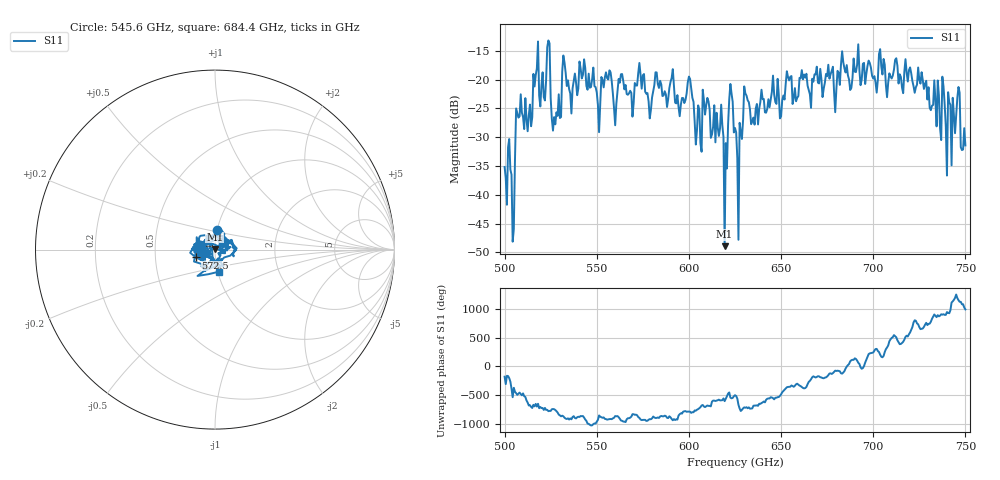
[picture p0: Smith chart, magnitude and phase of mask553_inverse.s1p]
!Created with skrf (http://scikit-rf.org).
# GHz S MA R 50.0
!freq magS11 angS11
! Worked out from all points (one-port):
!   401 points, 500 GHz to 750 GHz, reference 50 ohm
!   lowest |S11| = -48.9 dB at 619.4 GHz (marker M1), VSWR 1.01, Z = 49.8 + j0.313 ohm
!   |S11| at or under -10 dB: start of sweep to end of sweep
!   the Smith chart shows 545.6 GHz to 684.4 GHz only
!   S11 on the Smith chart (normalised r, x): 545.6 GHz: 1.00, +0.23; 572.5 GHz: 0.81, -0.07; 684.4 GHz: 1.01, -0.25
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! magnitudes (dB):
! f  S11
! 500 GHz  -35.2
! 504.4 GHz  -48.2
! 507.5 GHz  -26.6
! 513.8 GHz  -24.3
! 516.9 GHz  -19.2
! 520.6 GHz  -18.7
! 523.8 GHz  -13.2
! 526.9 GHz  -26.5
! 531.2 GHz  -18.6
! 545.6 GHz  -19.0
! 562.5 GHz  -20.5
! 572.5 GHz  -18.9
! 593.8 GHz  -22.7
! 605.6 GHz  -25.2
! 608.8 GHz  -26.1
! 617.5 GHz  -24.3
! 619.4 GHz  -48.9
! 622.5 GHz  -20.8
! 625 GHz  -28.4
! 627.5 GHz  -27.5
! 631.2 GHz  -22.8
! 656.2 GHz  -24.2
! 684.4 GHz  -18.1
! 687.5 GHz  -21.8
! 718.8 GHz  -20.3
! 741.2 GHz  -24.0
! 745.6 GHz  -23.2
! 750 GHz  -31.4
